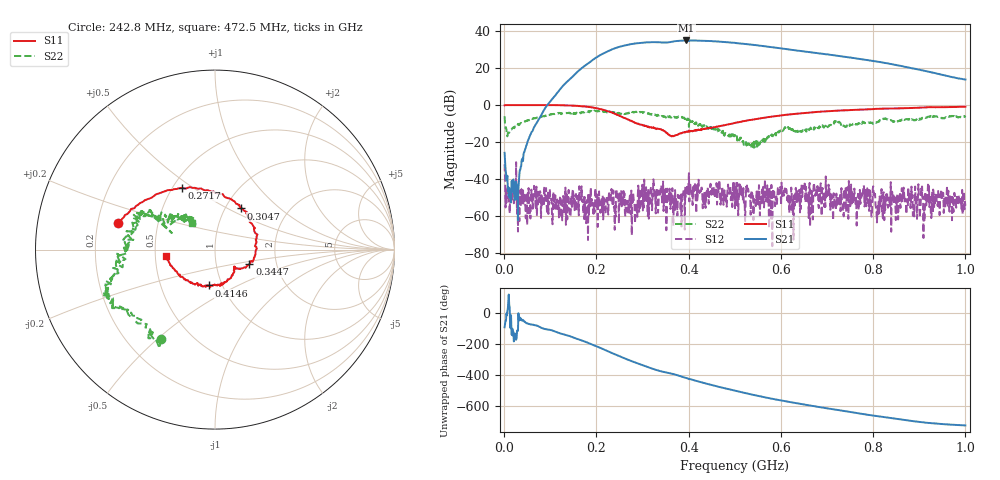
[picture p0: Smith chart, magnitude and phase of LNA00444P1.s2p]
! Created with skrf 1.9.0 (http://scikit-rf.org).
# Hz S RI R 50.0
!freq ReS11 ImS11 ReS21 ImS21 ReS12 ImS12 ReS22 ImS22
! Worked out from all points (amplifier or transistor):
!   1001 points, 1 MHz to 1 GHz, reference 50 ohm
!   highest |S21| = 34.9 dB at 394.6 MHz (marker M1)
!   |S21| within 3 dB of that: 256.6 MHz to 561.1 MHz (304.4 MHz wide, 74.5 % of centre)
!   unconditionally stable (mu >= 1): start of sweep to 57.56 MHz; 344.7 MHz to 400.2 MHz; 400.6 MHz to end of sweep (the widest 3 of 37)
!   at 166.8 MHz: K = 0.94, MSG = 35.5 dB, |S12| = -51.4 dB
!   at 500.5 MHz: K = 5.64, MAG = 34.2 dB, |S12| = -55.8 dB
!   at 1 GHz: K = 7.42, MAG = 22.4 dB, |S12| = -54.4 dB
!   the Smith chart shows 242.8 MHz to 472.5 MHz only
!   S11 on the Smith chart (normalised r, x): 242.8 MHz: 0.29, +0.13; 271.7 MHz: 0.56, +0.45; 304.7 MHz: 1.18, +0.58; 344.7 MHz: 1.45, -0.25; 414.6 MHz: 0.86, -0.36; 472.5 MHz: 0.57, -0.04
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1000000  0.9841 0.00688  -0.00161 -0.0511  -0.0237 0.00856  0.3528 0.3527
1.09891e8  0.5117 -0.8544  -0.843 -1.552  -0.00065 0.00278  0.4399 -0.3807
1.67833e8  -0.2311 -0.9025  -9.875 -0.5836  0.00239 0.0059  0.041 -0.6444
2.09791e8  -0.667 -0.3883  -15.6 16.76  -0.00211 -0.000774  -0.2068 -0.6498
2.42758e8  -0.5417 0.1503  0.0423 35  0.00216 0.00413  -0.3009 -0.5006
2.71729e8  -0.1851 0.3441  25.32 35.24  0.00218 0.00193  -0.5106 -0.3261
3.04696e8  0.1431 0.229  46.72 14.37  -0.0022 -0.0013  -0.5879 -0.1881
3.34666e8  0.2259 -0.0179  48.65 -10.61  -0.000211 0.00202  -0.5246 -0.0334
3.44656e8  0.1916 -0.0815  45.51 -17.3  -0.0077 0.00374  -0.4795 0.0258
3.71629e8  0.109 -0.1071  41.68 -33.5  0.000444 0.00207  -0.4343 0.17
3.94606e8  0.0636 -0.1793  27.89 -48.24  -0.000435 0.00565  -0.4091 0.2021
4.14586e8  -0.0354 -0.2  12.15 -53.99  0.00336 0.00127  -0.2625 0.1499
4.41559e8  -0.1675 -0.1639  -8.59 -53.41  0.00426 0.00446  -0.1868 0.1672
4.72528e8  -0.2752 -0.0347  -27.07 -42.99  0.00517 0.00342  -0.1298 0.1475
5.005e8  -0.3043 0.1178  -38.32 -29.04  -0.00149 0.000635  -0.1089 0.1113
5.39461e8  -0.2387 0.3307  -41.7 -8.052  0.00386 0.00182  -0.1003 -0.00457
5.83417e8  -0.0549 0.4891  -34.89 10.24  0.00476 -0.00166  -0.1343 -0.0663
6.25375e8  0.1415 0.5504  -23.89 19.35  -0.00104 0.000601  -0.1984 -0.0992
6.67333e8  0.3441 0.5323  -12.86 22.91  0.00306 -0.0034  -0.2292 -0.0219
7.53247e8  0.6439 0.3539  3.898 18.53  -0.00215 6.83e-06  -0.2895 0.025
8.34166e8  0.795 0.1153  9.796 8.788  0.00303 0.000918  -0.4096 0.0466
1e9  0.8005 -0.4152  4.864 -0.6367  -0.00184 -0.000449  -0.3152 0.3975
